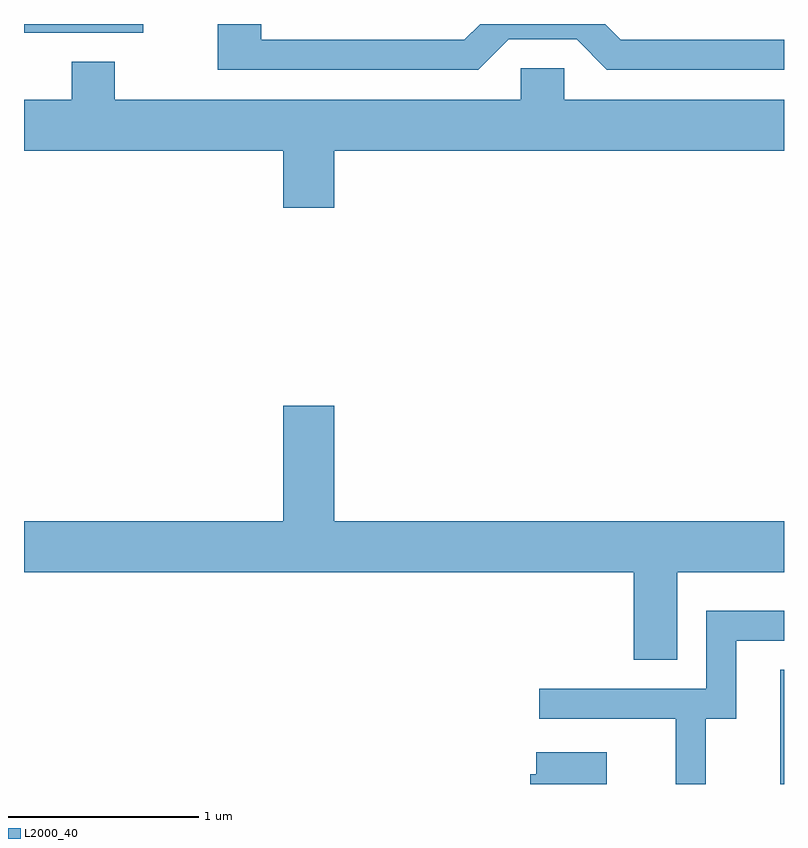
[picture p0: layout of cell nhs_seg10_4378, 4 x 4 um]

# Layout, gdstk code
import gdstk
lib = gdstk.Library(unit=1e-6, precision=1e-09)
def R(c, l, rs):  # rectangles x0, y0, x1, y1
    for r in rs: c.add(gdstk.rectangle(r[:2], r[2:], *l))
def P(c, l, *ps):  # polygons
    for p in ps: c.add(gdstk.Polygon(p, *l))
L2000_40 = (2000, 40)

nhs_seg10_4378 = lib.new_cell('nhs_seg10_4378')
R(nhs_seg10_4378, L2000_40, [(317.591,2170.522,317.611,2171.124), (313.611,2174.476,314.239,2174.522)])
P(nhs_seg10_4378, L2000_40, [(316.162,2174.441),(316.519,2174.441),(316.679,2174.281),(317.611,2174.281),(317.611,2174.439),(316.752,2174.439),(316.669,2174.522),(316.012,2174.522),(315.929,2174.439),(314.859,2174.439),(314.859,2174.522),(314.631,2174.522),(314.631,2174.281),(316.002,2174.281)],
  [(315.244,2173.856),(317.611,2173.856),(317.611,2174.124),(316.454,2174.124),(316.454,2174.289),(316.226,2174.289),(316.226,2174.124),(314.089,2174.124),(314.089,2174.324),(313.861,2174.324),(313.861,2174.124),(313.611,2174.124),(313.611,2173.856),(314.976,2173.856),(314.976,2173.556),(315.244,2173.556)],
  [(317.049,2171.636),(317.611,2171.636),(317.611,2171.904),(315.244,2171.904),(315.244,2172.514),(314.976,2172.514),(314.976,2171.904),(313.611,2171.904),(313.611,2171.636),(316.821,2171.636),(316.821,2171.176),(317.049,2171.176)],
  [(317.199,2170.866),(317.359,2170.866),(317.359,2171.276),(317.611,2171.276),(317.611,2171.434),(317.201,2171.434),(317.201,2171.024),(316.323,2171.024),(316.323,2170.866),(317.041,2170.866),(317.041,2170.522),(317.199,2170.522)],
  [(316.679,2170.689),(316.306,2170.689),(316.306,2170.574),(316.276,2170.574),(316.276,2170.522),(316.679,2170.522)])

lib.write_gds('nhs_seg10_4378.gds')
